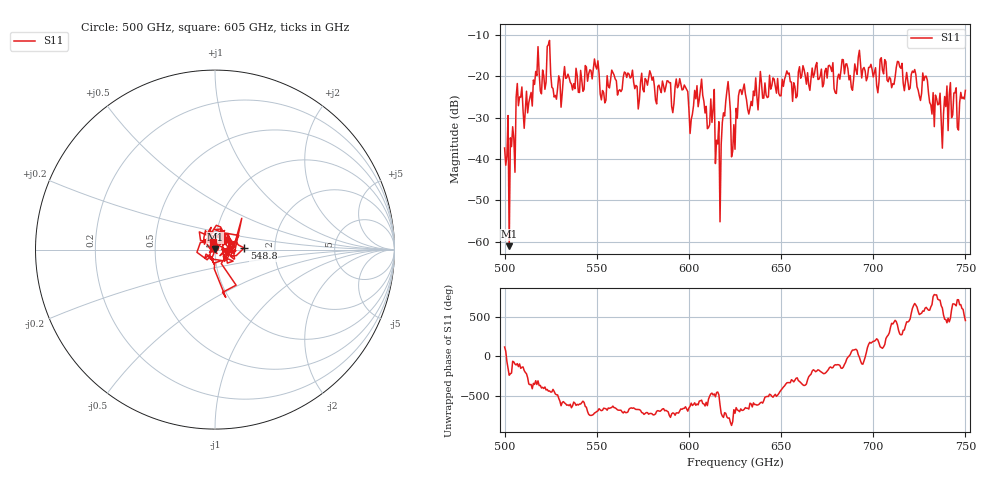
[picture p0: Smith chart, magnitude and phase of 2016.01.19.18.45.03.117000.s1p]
!Created with skrf (http://scikit-rf.org).
# GHz S RI R 50.0
!freq ReS11 ImS11
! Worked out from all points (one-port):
!   401 points, 500 GHz to 750 GHz, reference 50 ohm
!   lowest |S11| = -61.1 dB at 502.5 GHz (marker M1), VSWR 1.00, Z = 50 + j0.0764 ohm
!   |S11| at or under -10 dB: start of sweep to end of sweep
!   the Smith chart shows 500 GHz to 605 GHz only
!   S11 on the Smith chart (normalised r, x): 500 GHz: 0.99, +0.02; 548.8 GHz: 1.39, +0.03; 605 GHz: 0.97, +0.08
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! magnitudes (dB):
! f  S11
! 500 GHz  -37.3
! 502.5 GHz  -61.1
! 508.1 GHz  -25.0
! 511.2 GHz  -28.1
! 523.8 GHz  -12.3
! 526.9 GHz  -25.0
! 531.2 GHz  -24.1
! 548.8 GHz  -15.8
! 553.8 GHz  -23.9
! 558.8 GHz  -19.1
! 562.5 GHz  -23.2
! 593.8 GHz  -22.7
! 601.2 GHz  -30.4
! 605 GHz  -27.3
! 612.5 GHz  -31.1
! 615.6 GHz  -36.3
! 620.6 GHz  -23.5
! 623.8 GHz  -38.1
! 625 GHz  -37.6
! 628.8 GHz  -24.4
! 633.1 GHz  -27.7
! 656.2 GHz  -26.0
! 687.5 GHz  -19.8
! 714.4 GHz  -17.7
! 718.8 GHz  -21.1
! 728.1 GHz  -20.0
! 738.1 GHz  -29.1
! 750 GHz  -23.4
